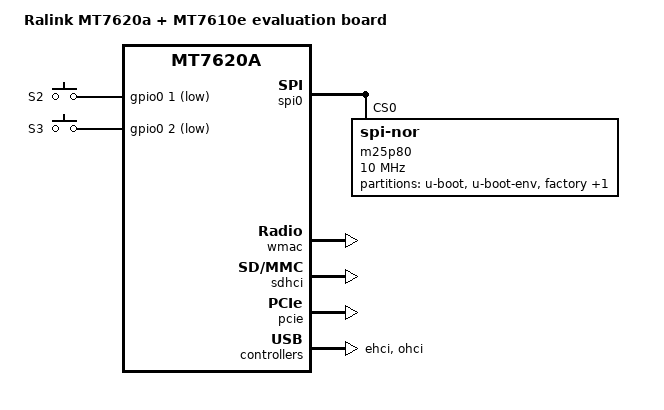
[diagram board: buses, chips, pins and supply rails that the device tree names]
/dts-v1/;

#include "mt7620a.dtsi"

/ {
	compatible = "ralink,mt7620a-eval-board", "ralink,mt7620a-soc";
	model = "Ralink MT7620a + MT7610e evaluation board";

	chosen {
		bootargs = "console=ttyS0,115200";
	};

	gpio-keys-polled {
		compatible = "gpio-keys";
		#address-cells = <1>;
		#size-cells = <0>;
		poll-interval = <20>;

		s2 {
			label = "S2";
			gpios = <&gpio0 1 1>;
			linux,code = <0x100>;
		};

		s3 {
			label = "S3";
			gpios = <&gpio0 2 1>;
			linux,code = <0x101>;
		};
	};
};

&spi0 {
	status = "okay";

	m25p80@0 {
		#address-cells = <1>;
		#size-cells = <1>;
		compatible = "jedec,spi-nor";
		reg = <0>;
		linux,modalias = "m25p80", "en25q64";
		spi-max-frequency = <10000000>;

		partition@0 {
			label = "u-boot";
			reg = <0x0 0x30000>;
			read-only;
		};

		partition@30000 {
			label = "u-boot-env";
			reg = <0x30000 0x10000>;
			read-only;
		};

		factory: partition@40000 {
			label = "factory";
			reg = <0x40000 0x10000>;
			read-only;
		};

		partition@50000 {
			label = "firmware";
			reg = <0x50000 0x7b0000>;
		};
	};
};

&pinctrl {
	state_default: pinctrl0 {
		gpio {
			ralink,group = "i2c", "uartf";
			ralink,function = "gpio";
		};
	};
};

&ethernet {
	pinctrl-names = "default";
	pinctrl-0 = <&ephy_pins>;
	/* mtd-mac-address = <&factory 0x4000>; */
	ralink,port-map = "wllll";
};

&wmac {
	ralink,mtd-eeprom = <&factory 0>;
};

&gsw {
	mediatek,port4 = "gmac";
};

&sdhci {
	status = "okay";
};

&pcie {
	status = "okay";
};

&ehci {
	status = "okay";
};

&ohci {
	status = "okay";
};
